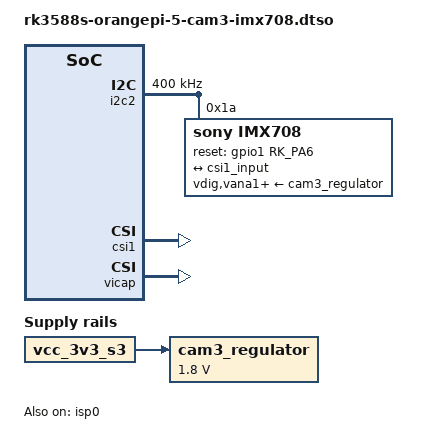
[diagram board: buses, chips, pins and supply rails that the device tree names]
// SPDX-License-Identifier: (GPL-2.0+ OR MIT)
/*
 * IMX708 on Orange Pi 5 / 5B CAM3 (Samsung DCPHY1 CSI RX + CSI1).
 */

/dts-v1/;
/plugin/;

#include <dt-bindings/clock/rockchip,rk3588-cru.h>
#include <dt-bindings/gpio/gpio.h>
#include <dt-bindings/pinctrl/rockchip.h>

&{/} {
	cam3_regulator: cam3_regulator {
		compatible = "regulator-fixed";
		regulator-name = "cam3_regulator";
		regulator-min-microvolt = <1800000>;
		regulator-max-microvolt = <1800000>;
		vin-supply = <&vcc_3v3_s3>;
	};
};

&i2c2 {
	#address-cells = <1>;
	#size-cells = <0>;
	clock-frequency = <400000>;
	status = "okay";

	imx708: camera-sensor@1a {
		compatible = "sony,imx708";
		reg = <0x1a>;
		assigned-clocks = <&cru CLK_MIPI_CAMARAOUT_M4>;
		assigned-clock-rates = <24000000>;
		clocks = <&cru CLK_MIPI_CAMARAOUT_M4>;
		vdig-supply = <&cam3_regulator>;
		vana1-supply = <&cam3_regulator>;
		vana2-supply = <&cam3_regulator>;
		vddl-supply = <&cam3_regulator>;
		orientation = <2>;
		pinctrl-names = "default";
		pinctrl-0 = <&cam3_rstn &mipim0_camera4_clk>;
		reset-gpios = <&gpio1 RK_PA6 GPIO_ACTIVE_HIGH>;
		port {
			imx708_output: endpoint {
				data-lanes = <1 2>;
				clock-noncontinuous;
				link-frequencies = /bits/ 64 <450000000>;
				remote-endpoint = <&csi1_input>;
			};
		};
	};
};

&pinctrl {
	cam3 {
		cam3_rstn: cam3-rstn-pinctrl {
			rockchip,pins = <1 RK_PA6 RK_FUNC_GPIO &pcfg_pull_none>;
		};
	};
};

&csi1 {
	status = "okay";
};

&csi1_in {
	csi1_input: endpoint {
		data-lanes = <1 2>;
		clock-noncontinuous;
		link-frequencies = /bits/ 64 <450000000>;
		remote-endpoint = <&imx708_output>;
	};
};

&vicap {
	status = "okay";
};

&vicap_mmu {
	status = "okay";
};

&isp0 {
	status = "okay";
};

&isp0_mmu {
	status = "okay";
};
